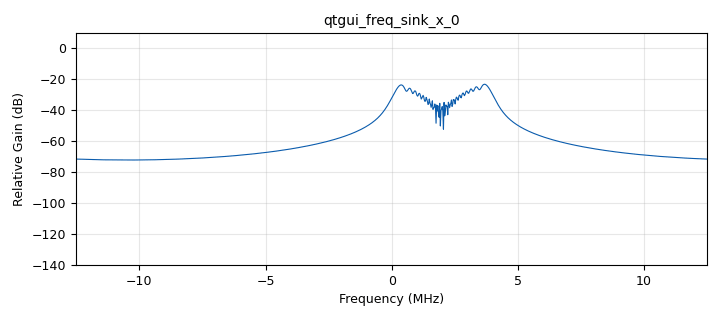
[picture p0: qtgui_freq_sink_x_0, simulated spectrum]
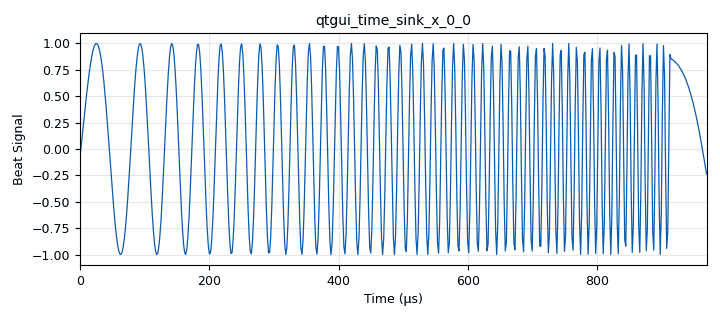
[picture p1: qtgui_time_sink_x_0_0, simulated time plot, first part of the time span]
options:
  parameters:
    generate_options: qt_gui
    id: fmcw_tx_power
    output_language: python
    title: Not titled yet
  states: {}

blocks:
- name: ch_bw
  id: variable
  parameters:
    comment: 0.2MHz < RF_BW < 56MHz
    value: 25e6
  states: {}
- name: samp_rate
  id: variable
  parameters:
    comment: 521kHz < x < 6144kHz
    value: '600000'
  states: {}
- name: analog_sig_source_x_0_0
  id: analog_sig_source_x
  parameters:
    amp: '1'
    freq: '1000'
    offset: '0.01'
    phase: '0'
    samp_rate: samp_rate
    type: float
    waveform: analog.GR_SAW_WAVE
  states: {}
- name: blocks_complex_to_real_0
  id: blocks_complex_to_real
  parameters: {}
  states: {}
- name: blocks_vco_c_0_0
  id: blocks_vco_c
  parameters:
    amplitude: '1'
    samp_rate: samp_rate
    sensitivity: samp_rate
  states: {}
- name: osmosdr_sink_0
  id: osmosdr_sink
  parameters:
    args: bladerf=0,biastee=1
    bb_gain0: '0'
    bw0: ch_bw
    comment: |-
      2.45GHz
      RF gain 65> = 1 dbm
      RF gain 60 = -5 dbm
      RF gain 50 = -15 dbm
    freq0: 2.45e9
    gain0: '70'
    if_gain0: '0'
    sample_rate: samp_rate
    sync: sync
    type: fc32
  states: {}
- name: qtgui_freq_sink_x_0
  id: qtgui_freq_sink_x
  parameters:
    bw: ch_bw
    fc: '0'
    fftsize: '1024'
    showports: 'True'
    type: complex
    update_time: '0.00001'
  states: {}
- name: qtgui_time_sink_x_0_0
  id: qtgui_time_sink_x
  parameters:
    autoscale: 'True'
    label1: ''
    size: '1024'
    srate: samp_rate
    tr_mode: qtgui.TRIG_MODE_AUTO
    type: float
    ylabel: Beat Signal
  states: {}

connections:
- [analog_sig_source_x_0_0, '0', blocks_vco_c_0_0, '0']
- [blocks_complex_to_real_0, '0', qtgui_time_sink_x_0_0, '0']
- [blocks_vco_c_0_0, '0', blocks_complex_to_real_0, '0']
- [blocks_vco_c_0_0, '0', osmosdr_sink_0, '0']
- [blocks_vco_c_0_0, '0', qtgui_freq_sink_x_0, '0']

metadata:
  file_format: 1
  grc_version: 3.9.8.0
